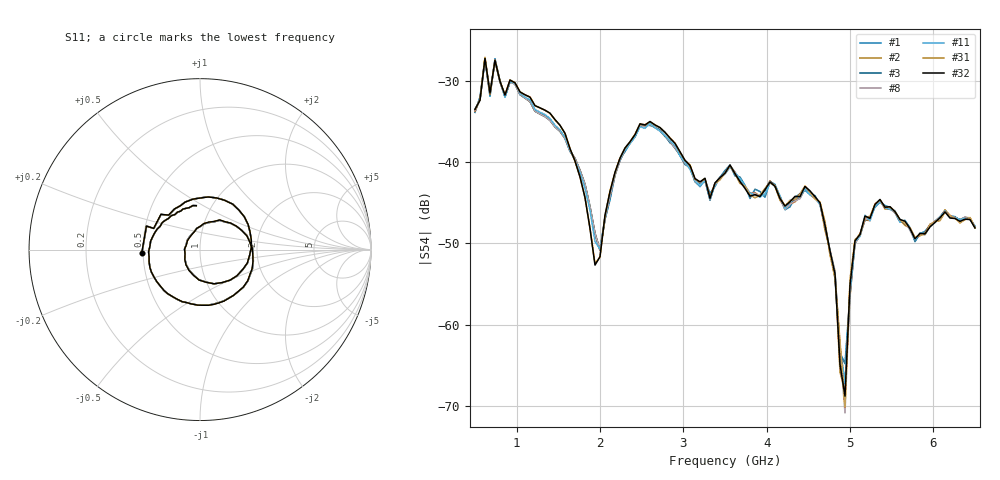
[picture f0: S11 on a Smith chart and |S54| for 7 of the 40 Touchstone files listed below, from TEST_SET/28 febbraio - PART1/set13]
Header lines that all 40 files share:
!Keysight Technologies,M9804A,MY58100912,A.14.10.03
!Date: Thursday, April 27, 2023 10:28:33
!Correction: S11(C  6-Port  )
!S12(C  6-Port  )
!S13(C  6-Port  )
!S14(C  6-Port  )
!S15(C  6-Port  )
!S16(C  6-Port  )
!S21(C  6-Port  )
!S22(C  6-Port  )
!S23(C  6-Port  )
!S24(C  6-Port  )
!S25(C  6-Port  )
!S26(C  6-Port  )
!S31(C  6-Port  )
!S32(C  6-Port  )
!S33(C  6-Port  )
!S34(C  6-Port  )
!S35(C  6-Port  )
!S36(C  6-Port  )
!S41(C  6-Port  )
!S42(C  6-Port  )
!S43(C  6-Port  )
!S44(C  6-Port  )
!S45(C  6-Port  )
!S46(C  6-Port  )
!S51(C  6-Port  )
!S52(C  6-Port  )
!S53(C  6-Port  )
!S54(C  6-Port  )
# Hz S  RI  R 50
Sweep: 500 MHz to 6.5 GHz
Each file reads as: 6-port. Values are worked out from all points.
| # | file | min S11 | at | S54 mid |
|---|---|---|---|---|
| 1 | CSF_2.5_m1.s6p | -21.3 dB | 2.6 GHz | -41.0 dB at 3.5 GHz |
| 2 | CSF_2.5_m2.s6p | -21.3 dB | 2.6 GHz | -41.4 dB at 3.5 GHz |
| 3 | CSF_2.5_m3.s6p | -21.4 dB | 2.6 GHz | -41.4 dB at 3.5 GHz |
| 4 | CSF_2.5_m4.s6p | -21.4 dB | 2.6 GHz | -41.4 dB at 3.5 GHz |
| 5 | CSF_2.5_m5.s6p | -21.4 dB | 2.6 GHz | -41.4 dB at 3.5 GHz |
| 6 | CSF_2.5_m6.s6p | -21.4 dB | 2.6 GHz | -41.4 dB at 3.5 GHz |
| 7 | CSF_2.5_m7.s6p | -21.4 dB | 2.6 GHz | -41.4 dB at 3.5 GHz |
| 8 | CSF_2.5_m8.s6p | -21.4 dB | 2.6 GHz | -41.3 dB at 3.5 GHz |
| 9 | CSF_2.5_m9.s6p | -21.4 dB | 2.6 GHz | -41.3 dB at 3.5 GHz |
| 10 | CSF_2.5_m10.s6p | -21.4 dB | 2.6 GHz | -41.3 dB at 3.5 GHz |
| 11 | CSF_5_m1.s6p | -21.4 dB | 2.6 GHz | -41.5 dB at 3.5 GHz |
| 12 | CSF_5_m2.s6p | -21.4 dB | 2.6 GHz | -41.5 dB at 3.5 GHz |
| 13 | CSF_5_m3.s6p | -21.4 dB | 2.6 GHz | -41.5 dB at 3.5 GHz |
| 14 | CSF_5_m4.s6p | -21.4 dB | 2.6 GHz | -41.5 dB at 3.5 GHz |
| 15 | CSF_5_m5.s6p | -21.4 dB | 2.6 GHz | -41.5 dB at 3.5 GHz |
| 16 | CSF_5_m6.s6p | -21.4 dB | 2.6 GHz | -41.5 dB at 3.5 GHz |
| 17 | CSF_5_m7.s6p | -21.4 dB | 2.6 GHz | -41.5 dB at 3.5 GHz |
| 18 | CSF_5_m8.s6p | -21.4 dB | 2.6 GHz | -41.5 dB at 3.5 GHz |
| 19 | CSF_5_m9.s6p | -21.4 dB | 2.6 GHz | -41.5 dB at 3.5 GHz |
| 20 | CSF_5_m10.s6p | -21.4 dB | 2.6 GHz | -41.5 dB at 3.5 GHz |
| 21 | CSF_7.5_m1.s6p | -21.4 dB | 2.6 GHz | -41.3 dB at 3.5 GHz |
| 22 | CSF_7.5_m2.s6p | -21.4 dB | 2.6 GHz | -41.3 dB at 3.5 GHz |
| 23 | CSF_7.5_m3.s6p | -21.4 dB | 2.6 GHz | -41.4 dB at 3.5 GHz |
| 24 | CSF_7.5_m4.s6p | -21.4 dB | 2.6 GHz | -41.4 dB at 3.5 GHz |
| 25 | CSF_7.5_m5.s6p | -21.4 dB | 2.6 GHz | -41.4 dB at 3.5 GHz |
| 26 | CSF_7.5_m6.s6p | -21.4 dB | 2.6 GHz | -41.3 dB at 3.5 GHz |
| 27 | CSF_7.5_m7.s6p | -21.4 dB | 2.6 GHz | -41.3 dB at 3.5 GHz |
| 28 | CSF_7.5_m8.s6p | -21.4 dB | 2.6 GHz | -41.4 dB at 3.5 GHz |
| 29 | CSF_7.5_m9.s6p | -21.4 dB | 2.6 GHz | -41.4 dB at 3.5 GHz |
| 30 | CSF_7.5_m10.s6p | -21.4 dB | 2.6 GHz | -41.5 dB at 3.5 GHz |
| 31 | CSF_10_m1.s6p | -21.5 dB | 2.6 GHz | -41.3 dB at 3.5 GHz |
| 32 | CSF_10_m2.s6p | -21.5 dB | 2.6 GHz | -41.4 dB at 3.5 GHz |
| 33 | CSF_10_m3.s6p | -21.5 dB | 2.6 GHz | -41.4 dB at 3.5 GHz |
| 34 | CSF_10_m4.s6p | -21.5 dB | 2.6 GHz | -41.4 dB at 3.5 GHz |
| 35 | CSF_10_m5.s6p | -21.5 dB | 2.6 GHz | -41.4 dB at 3.5 GHz |
| 36 | CSF_10_m6.s6p | -21.5 dB | 2.6 GHz | -41.4 dB at 3.5 GHz |
| 37 | CSF_10_m7.s6p | -21.5 dB | 2.6 GHz | -41.4 dB at 3.5 GHz |
| 38 | CSF_10_m8.s6p | -21.5 dB | 2.6 GHz | -41.4 dB at 3.5 GHz |
| 39 | CSF_10_m9.s6p | -21.5 dB | 2.6 GHz | -41.4 dB at 3.5 GHz |
| 40 | CSF_10_m10.s6p | -21.5 dB | 2.6 GHz | -41.4 dB at 3.5 GHz |
